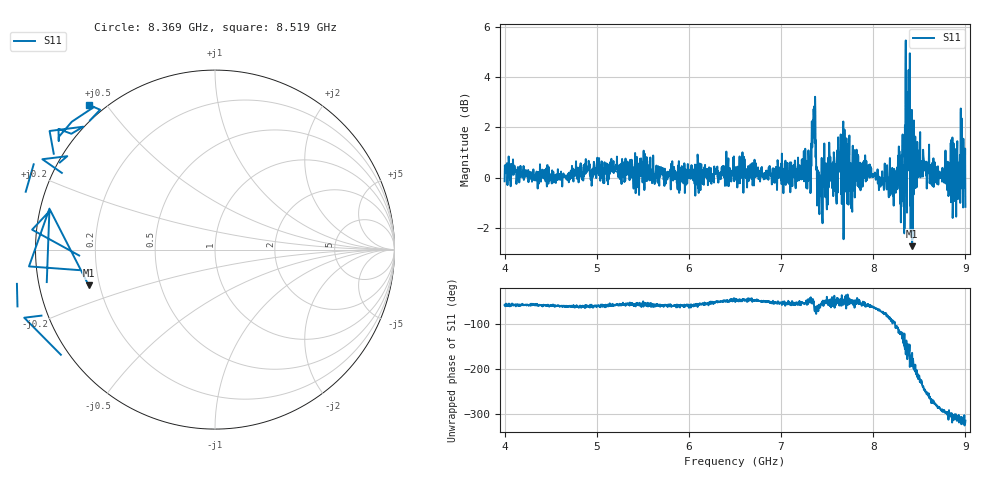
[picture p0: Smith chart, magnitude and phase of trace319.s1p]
! Created with skrf 1.8.0 (http://scikit-rf.org).
# Hz S RI R 50.0
!freq ReS11 ImS11
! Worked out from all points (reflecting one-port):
!   1601 points, 4 GHz to 9 GHz, reference 50 ohm
!   lowest |S11| = -2.7 dB at 8.422 GHz (marker M1), VSWR 6.45, Z = 7.89 - j6.75 ohm
!   phase of S11 starts at -57 deg and turns -259 deg over the sweep
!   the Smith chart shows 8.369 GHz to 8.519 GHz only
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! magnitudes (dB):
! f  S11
! 4 GHz  -0.1
! 4.625 GHz  -0.3
! 5.25 GHz  0.0
! 5.875 GHz  -0.4
! 6.5 GHz  0.2
! 7.125 GHz  0.2
! 7.297 GHz  1.1
! 7.353 GHz  2.7
! 7.4 GHz  0.3
! 7.428 GHz  -0.1
! 7.534 GHz  0.8
! 7.578 GHz  0.7
! 7.65 GHz  1.4
! 7.75 GHz  0.2
! 7.891 GHz  0.3
! 8.228 GHz  0.4
! 8.294 GHz  -1.0
! 8.316 GHz  0.9
! 8.328 GHz  -0.7
! 8.347 GHz  -0.6
! 8.375 GHz  1.0
! 8.412 GHz  -0.4
! 8.422 GHz  -2.7
! 8.459 GHz  -0.4
! 8.638 GHz  0.4
! 8.875 GHz  0.3
! 8.959 GHz  2.4
! 9 GHz  -1.2
